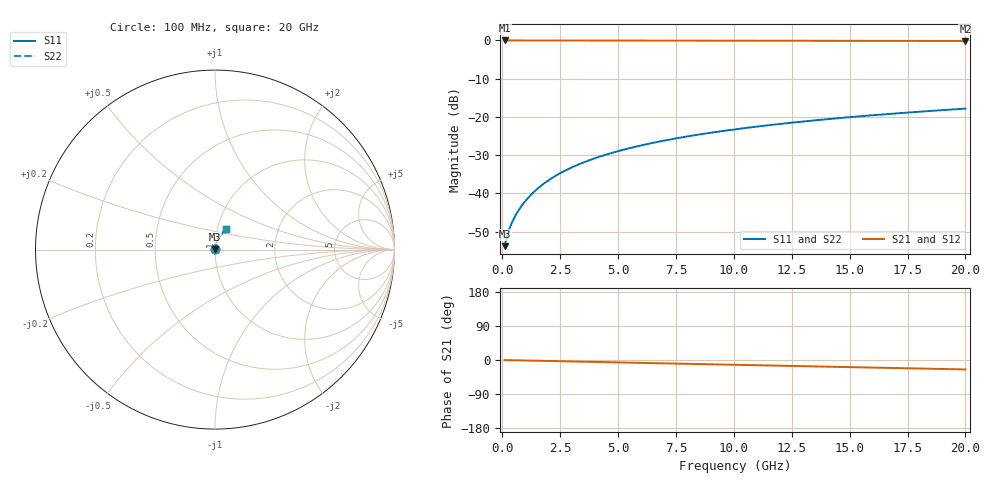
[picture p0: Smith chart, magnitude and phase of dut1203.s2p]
! Touchstone file exported from HFSS 2026.1.0
!  File:  C:/ffzhzh/LocalFiles/Ansys_Project_Files/temp_train_BSMRDL_1203_1783176498_22436.aedt
!  Generated:  10:49:28 PM Jul  4, 2026
!  Design:  BSMRDL
!  Project:  temp_train_BSMRDL_1203_1783176498_22436
! Variables:
!  h_bsmrdl = 3.45um
!  h_ox = 20um
!  h_rdl = 5um
!  h_sub = 80um
!  h_tmrdl = 5um
!  h_tsv = 80um
!  h_via = 3um
!  l_bsmrdl = 401.96um
!  l_sub = 801.96um
!  l_tmrdl = 200um
!  m_sub = 200um
!  pitch = 37.82um
!  r_tsv = 6um
!  s_tmrdl = 10um
!  w_bsmrdl = 27.09um
!  w_sub = 500um
!  w_tmrdl = 12um
!  x_tsv_center1 = 206um
!  x_tsv_center2 = 635.05um
!  x_tsv_center3 = 847.05um
!  x_tsv_center4 = 1276.1um
!  x_tsv_center5 = 1488.1um
!  x_tsv_center6 = 1917.15um
# GHz S MA R 50.000000
! Terminal data exported
! Port[1] = BSM_RDL1_1_T1
! Port[2] = BSM_RDL1_1_T2
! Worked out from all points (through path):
!   200 points, 100 MHz to 20 GHz, reference 50 ohm
!   highest |S21| = -0.02 dB at 100 MHz (marker M1); lowest = -0.2 dB at 20 GHz (marker M2)
!   group delay of S21, straight-line fit = 3.45 ps
!   lowest |S11| = -53.8 dB at 100 MHz (marker M3), VSWR 1.00, Z = 50.2 + j0.0972 ohm
!   |S11| at or under -10 dB: start of sweep to end of sweep
!   |S22| runs from -53.8 to -17.8 dB; largest |S21 - S12| = 2.1e-15
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0.1  0.00205 28.2  0.9982 -0.1  0.9982 -0.1  0.00205 28.2
! Gamma 0 0 0 0
! Port Impedance 50 0 50 0
0.2  0.002703 43.1  0.998 -0.3  0.998 -0.3  0.002703 43.1
0.3  0.003398 50.7  0.9979 -0.4  0.9979 -0.4  0.003398 50.7
0.4  0.004067 55.4  0.9977 -0.5  0.9977 -0.5  0.004067 55.5
0.5  0.004717 59.0  0.9976 -0.7  0.9976 -0.7  0.004717 59.0
0.6  0.005362 61.9  0.9975 -0.8  0.9975 -0.8  0.005362 61.9
0.8  0.006663 66.3  0.9974 -1.0  0.9974 -1.0  0.006663 66.3
1  0.007991 69.4  0.9973 -1.3  0.9973 -1.3  0.007991 69.4
1.2  0.009344 71.6  0.9973 -1.6  0.9973 -1.6  0.009344 71.6
1.7  0.0128 75.0  0.9971 -2.2  0.9971 -2.2  0.0128 75.0
2.2  0.01629 76.7  0.9969 -2.8  0.9969 -2.8  0.01629 76.7
2.8  0.0205 77.5  0.9966 -3.6  0.9966 -3.6  0.0205 77.5
3.5  0.0254 77.8  0.9963 -4.5  0.9963 -4.5  0.0254 77.8
4.2  0.03025 77.6  0.9958 -5.4  0.9958 -5.4  0.03025 77.6
5  0.03574 77.1  0.9953 -6.4  0.9953 -6.4  0.03574 77.1
5.9  0.04184 76.4  0.9947 -7.5  0.9947 -7.5  0.04184 76.4
6.8  0.04784 75.5  0.994 -8.7  0.994 -8.7  0.04784 75.5
8.3  0.05767 74.0  0.9928 -10.5  0.9928 -10.5  0.05766 74.0
10.1  0.06919 72.1  0.9913 -12.8  0.9913 -12.8  0.06919 72.0
13.4  0.08967 68.5  0.9886 -16.8  0.9886 -16.8  0.08967 68.4
16.7  0.1094 64.8  0.9857 -20.9  0.9857 -20.9  0.1094 64.8
20  0.1284 61.1  0.9826 -24.9  0.9826 -24.9  0.1284 61.1
